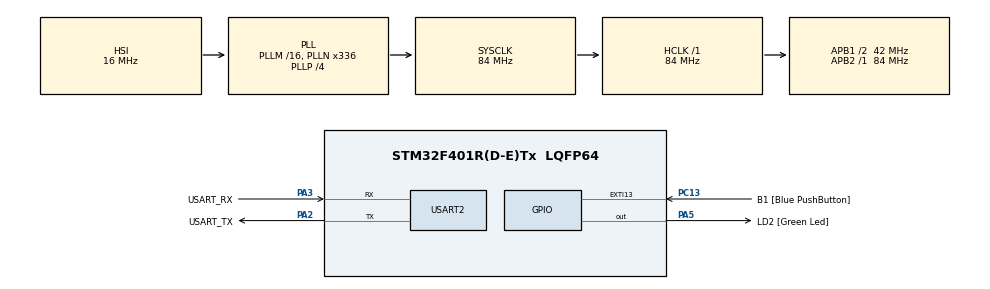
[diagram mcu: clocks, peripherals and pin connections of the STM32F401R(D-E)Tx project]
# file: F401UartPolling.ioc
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Mcu.Family=STM32F4
Mcu.Name=STM32F401R(D-E)Tx
Mcu.Package=LQFP64
NVIC.PriorityGroup=NVIC_PRIORITYGROUP_0
NVIC.RTC_WKUP_IRQn=true\:0\:0\:false\:false\:true\:true\:true\:true
NVIC.TIM1_UP_TIM10_IRQn=true\:0\:0\:false\:false\:true\:true\:true\:true
NVIC.USART2_IRQn=true\:0\:0\:false\:false\:true\:true\:true\:true
PA13.GPIO_Label=TMS
PA13.Mode=Serial_Wire
PA13.Signal=SYS_JTMS-SWDIO
PA14.GPIO_Label=TCK
PA14.Mode=Serial_Wire
PA14.Signal=SYS_JTCK-SWCLK
PA2.GPIO_Label=USART_TX
PA2.GPIO_Mode=GPIO_MODE_AF_PP
PA2.GPIO_PuPd=GPIO_NOPULL
PA2.GPIO_Speed=GPIO_SPEED_FREQ_LOW
PA2.Mode=Asynchronous
PA2.Signal=USART2_TX
PA3.GPIO_Label=USART_RX
PA3.GPIO_Mode=GPIO_MODE_AF_PP
PA3.GPIO_PuPd=GPIO_NOPULL
PA3.GPIO_Speed=GPIO_SPEED_FREQ_LOW
PA3.Mode=Asynchronous
PA3.Signal=USART2_RX
PA5.GPIO_Label=LD2 [Green Led]
PA5.GPIO_Mode=GPIO_MODE_OUTPUT_PP
PA5.GPIO_PuPd=GPIO_NOPULL
PA5.GPIO_Speed=GPIO_SPEED_FREQ_LOW
PA5.Signal=GPIO_Output
PB3.GPIO_Label=SWO
PB3.Signal=SYS_JTDO-SWO
PC13-ANTI_TAMP.GPIO_Label=B1 [Blue PushButton]
PC13-ANTI_TAMP.GPIO_ModeDefaultEXTI=GPIO_MODE_IT_FALLING
PC13-ANTI_TAMP.GPIO_PuPd=GPIO_NOPULL
PC13-ANTI_TAMP.Signal=GPXTI13
PC14-OSC32_IN.Mode=LSE-External-Oscillator
PC14-OSC32_IN.Signal=RCC_OSC32_IN
PC15-OSC32_OUT.Mode=LSE-External-Oscillator
PC15-OSC32_OUT.Signal=RCC_OSC32_OUT
PH0\ -\ OSC_IN.Mode=HSE-External-Clock-Source
PH0\ -\ OSC_IN.Signal=RCC_OSC_IN
PH1\ -\ OSC_OUT.Mode=HSE-External-Clock-Source
PH1\ -\ OSC_OUT.Signal=RCC_OSC_OUT
ProjectManager.HeapSize=0x200
ProjectManager.StackSize=0x400
ProjectManager.TargetToolchain=STM32CubeIDE
RCC.48MHZClocksFreq_Value=48000000
RCC.AHBFreq_Value=84000000
RCC.APB1CLKDivider=RCC_HCLK_DIV2
RCC.APB1Freq_Value=42000000
RCC.APB1TimFreq_Value=84000000
RCC.APB2Freq_Value=84000000
RCC.APB2TimFreq_Value=84000000
RCC.CortexFreq_Value=84000000
RCC.HCLKFreq_Value=84000000
RCC.HSE_VALUE=8000000
RCC.HSI_VALUE=16000000
RCC.PLLN=336
RCC.PLLP=RCC_PLLP_DIV4
RCC.PLLQ=7
RCC.RCC_RTC_Clock_Source=RCC_RTCCLKSOURCE_LSE
RCC.SYSCLKFreq_VALUE=84000000
RCC.SYSCLKSource=RCC_SYSCLKSOURCE_PLLCLK
RCC.VCOOutputFreq_Value=336000000
RTC.WakeUpClock=RTC_WAKEUPCLOCK_CK_SPRE_16BITS
TIM1.AutoReloadPreload=TIM_AUTORELOAD_PRELOAD_ENABLE
TIM1.Period=210
TIM1.Prescaler=4
USART2.VirtualMode=VM_ASYNC
VP_RTC_VS_RTC_Activate.Mode=RTC_Enabled
VP_RTC_VS_RTC_Calendar.Mode=RTC_Calendar
VP_RTC_VS_RTC_WakeUp_intern.Mode=WakeUp
VP_TIM1_VS_ClockSourceINT.Mode=Internal
board=NUCLEO-F401RE

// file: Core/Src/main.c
/* USER CODE BEGIN Header */
/**
  ******************************************************************************
  * @file           : main.c
  * @brief          : Main program body
  ******************************************************************************
  * @attention
  *
  * Copyright (c) 2023 STMicroelectronics.
  * All rights reserved.
  *
  * This software is licensed under terms that can be found in the LICENSE file
  * in the root directory of this software component.
  * If no LICENSE file comes with this software, it is provided AS-IS.
  *
  ******************************************************************************
  */
/* USER CODE END Header */
#include "main.h"

/* USER CODE BEGIN Includes */
#include <stdio.h>
/* USER CODE END Includes */

RTC_HandleTypeDef hrtc;

TIM_HandleTypeDef htim1;

UART_HandleTypeDef huart2;

void SystemClock_Config(void);
static void MX_GPIO_Init(void);
static void MX_USART2_UART_Init(void);
static void MX_TIM1_Init(void);
static void MX_RTC_Init(void);
/* USER CODE BEGIN PFP */
void user_init(void);
void user_main_loop(void);

/* USER CODE END PFP */

/* USER CODE BEGIN 0 */
//#include <stdio.h>
int __io_putchar(uint8_t ch)
{
  return ITM_SendChar(ch);
}
/* USER CODE END 0 */

int main(void)
{
  /* USER CODE BEGIN 1 */
	//setbuf(stdout, NULL);
  /* USER CODE END 1 */

  /* MCU Configuration--------------------------------------------------------*/

  /* Reset of all peripherals, Initializes the Flash interface and the Systick. */
  HAL_Init();

  /* Configure the system clock */
  SystemClock_Config();

  /* Initialize all configured peripherals */
  MX_GPIO_Init();
  MX_USART2_UART_Init();
  MX_TIM1_Init();
  MX_RTC_Init();
  /* USER CODE BEGIN 2 */
  user_init();

  /* USER CODE END 2 */

  /* Infinite loop */
  while (1)
  {

    /* USER CODE BEGIN 3 */
	  user_main_loop();

  }
  /* USER CODE END 3 */
}

void SystemClock_Config(void)
{
  RCC_OscInitTypeDef RCC_OscInitStruct = {0};
  RCC_ClkInitTypeDef RCC_ClkInitStruct = {0};

  /** Configure the main internal regulator output voltage
  */
  __HAL_RCC_PWR_CLK_ENABLE();
  __HAL_PWR_VOLTAGESCALING_CONFIG(PWR_REGULATOR_VOLTAGE_SCALE2);

  /** Initializes the RCC Oscillators according to the specified parameters
  * in the RCC_OscInitTypeDef structure.
  */
  RCC_OscInitStruct.OscillatorType = RCC_OSCILLATORTYPE_HSI|RCC_OSCILLATORTYPE_LSE;
  RCC_OscInitStruct.LSEState = RCC_LSE_ON;
  RCC_OscInitStruct.HSIState = RCC_HSI_ON;
  RCC_OscInitStruct.HSICalibrationValue = RCC_HSICALIBRATION_DEFAULT;
  RCC_OscInitStruct.PLL.PLLState = RCC_PLL_ON;
  RCC_OscInitStruct.PLL.PLLSource = RCC_PLLSOURCE_HSI;
  RCC_OscInitStruct.PLL.PLLM = 16;
  RCC_OscInitStruct.PLL.PLLN = 336;
  RCC_OscInitStruct.PLL.PLLP = RCC_PLLP_DIV4;
  RCC_OscInitStruct.PLL.PLLQ = 7;
  if (HAL_RCC_OscConfig(&RCC_OscInitStruct) != HAL_OK)
  {
    Error_Handler();
  }

  /** Initializes the CPU, AHB and APB buses clocks
  */
  RCC_ClkInitStruct.ClockType = RCC_CLOCKTYPE_HCLK|RCC_CLOCKTYPE_SYSCLK
                              |RCC_CLOCKTYPE_PCLK1|RCC_CLOCKTYPE_PCLK2;
  RCC_ClkInitStruct.SYSCLKSource = RCC_SYSCLKSOURCE_PLLCLK;
  RCC_ClkInitStruct.AHBCLKDivider = RCC_SYSCLK_DIV1;
  RCC_ClkInitStruct.APB1CLKDivider = RCC_HCLK_DIV2;
  RCC_ClkInitStruct.APB2CLKDivider = RCC_HCLK_DIV1;

  if (HAL_RCC_ClockConfig(&RCC_ClkInitStruct, FLASH_LATENCY_2) != HAL_OK)
  {
    Error_Handler();
  }
}

static void MX_RTC_Init(void)
{

  RTC_TimeTypeDef sTime = {0};
  RTC_DateTypeDef sDate = {0};

  /** Initialize RTC Only
  */
  hrtc.Instance = RTC;
  hrtc.Init.HourFormat = RTC_HOURFORMAT_24;
  hrtc.Init.AsynchPrediv = 127;
  hrtc.Init.SynchPrediv = 255;
  hrtc.Init.OutPut = RTC_OUTPUT_DISABLE;
  hrtc.Init.OutPutPolarity = RTC_OUTPUT_POLARITY_HIGH;
  hrtc.Init.OutPutType = RTC_OUTPUT_TYPE_OPENDRAIN;
  if (HAL_RTC_Init(&hrtc) != HAL_OK)
  {
    Error_Handler();
  }

  /** Initialize RTC and set the Time and Date
  */
  sTime.Hours = 0x0;
  sTime.Minutes = 0x0;
  sTime.Seconds = 0x0;
  sTime.DayLightSaving = RTC_DAYLIGHTSAVING_NONE;
  sTime.StoreOperation = RTC_STOREOPERATION_RESET;
  if (HAL_RTC_SetTime(&hrtc, &sTime, RTC_FORMAT_BCD) != HAL_OK)
  {
    Error_Handler();
  }
  sDate.WeekDay = RTC_WEEKDAY_MONDAY;
  sDate.Month = RTC_MONTH_JANUARY;
  sDate.Date = 0x1;
  sDate.Year = 0x0;

  if (HAL_RTC_SetDate(&hrtc, &sDate, RTC_FORMAT_BCD) != HAL_OK)
  {
    Error_Handler();
  }

  /** Enable the WakeUp
  */
  if (HAL_RTCEx_SetWakeUpTimer_IT(&hrtc, 0, RTC_WAKEUPCLOCK_CK_SPRE_16BITS) != HAL_OK)
  {
    Error_Handler();
  }
  /* USER CODE BEGIN RTC_Init 2 */
#define MAGIC_NO 0x12a5

  if(HAL_RTCEx_BKUPRead(&hrtc, RTC_BKP_DR0) != MAGIC_NO)
  {
    RTC_TimeTypeDef sTime = {0};
    RTC_DateTypeDef sDate = {0};

    sTime.Hours = 1;
    sTime.Minutes = 0;
    sTime.Seconds = 0;
    if (HAL_RTC_SetTime(&hrtc, &sTime, RTC_FORMAT_BIN) != HAL_OK)
    {
      Error_Handler();
    }
    sDate.WeekDay = RTC_WEEKDAY_WEDNESDAY;
    sDate.Month = RTC_MONTH_JANUARY;
    sDate.Date = 1;
    sDate.Year = 20;
    if (HAL_RTC_SetDate(&hrtc, &sDate, RTC_FORMAT_BIN) != HAL_OK)
    {
      Error_Handler();

    }
    HAL_RTCEx_BKUPWrite(&hrtc, RTC_BKP_DR0, MAGIC_NO);
  }
  /* USER CODE END RTC_Init 2 */

}

static void MX_TIM1_Init(void)
{

  TIM_ClockConfigTypeDef sClockSourceConfig = {0};
  TIM_MasterConfigTypeDef sMasterConfig = {0};

  htim1.Instance = TIM1;
  htim1.Init.Prescaler = 4;
  htim1.Init.CounterMode = TIM_COUNTERMODE_UP;
  htim1.Init.Period = 210;
  htim1.Init.ClockDivision = TIM_CLOCKDIVISION_DIV1;
  htim1.Init.RepetitionCounter = 0;
  htim1.Init.AutoReloadPreload = TIM_AUTORELOAD_PRELOAD_ENABLE;
  if (HAL_TIM_Base_Init(&htim1) != HAL_OK)
  {
    Error_Handler();
  }
  sClockSourceConfig.ClockSource = TIM_CLOCKSOURCE_INTERNAL;
  if (HAL_TIM_ConfigClockSource(&htim1, &sClockSourceConfig) != HAL_OK)
  {
    Error_Handler();
  }
  sMasterConfig.MasterOutputTrigger = TIM_TRGO_RESET;
  sMasterConfig.MasterSlaveMode = TIM_MASTERSLAVEMODE_DISABLE;
  if (HAL_TIMEx_MasterConfigSynchronization(&htim1, &sMasterConfig) != HAL_OK)
  {
    Error_Handler();
  }
  /* USER CODE BEGIN TIM1_Init 2 */
  HAL_TIM_Base_Start_IT(&htim1);
  /* USER CODE END TIM1_Init 2 */

}

static void MX_USART2_UART_Init(void)
{

  huart2.Instance = USART2;
  huart2.Init.BaudRate = 115200;
  huart2.Init.WordLength = UART_WORDLENGTH_8B;
  huart2.Init.StopBits = UART_STOPBITS_1;
  huart2.Init.Parity = UART_PARITY_NONE;
  huart2.Init.Mode = UART_MODE_TX_RX;
  huart2.Init.HwFlowCtl = UART_HWCONTROL_NONE;
  huart2.Init.OverSampling = UART_OVERSAMPLING_16;
  if (HAL_UART_Init(&huart2) != HAL_OK)
  {
    Error_Handler();
  }

}

static void MX_GPIO_Init(void)
{
  GPIO_InitTypeDef GPIO_InitStruct = {0};

  /* GPIO Ports Clock Enable */
  __HAL_RCC_GPIOC_CLK_ENABLE();
  __HAL_RCC_GPIOH_CLK_ENABLE();
  __HAL_RCC_GPIOA_CLK_ENABLE();
  __HAL_RCC_GPIOB_CLK_ENABLE();

  /*Configure GPIO pin Output Level */
  HAL_GPIO_WritePin(LD2_GPIO_Port, LD2_Pin, GPIO_PIN_RESET);

  /*Configure GPIO pin : B1_Pin */
  GPIO_InitStruct.Pin = B1_Pin;
  GPIO_InitStruct.Mode = GPIO_MODE_IT_FALLING;
  GPIO_InitStruct.Pull = GPIO_NOPULL;
  HAL_GPIO_Init(B1_GPIO_Port, &GPIO_InitStruct);

  /*Configure GPIO pin : LD2_Pin */
  GPIO_InitStruct.Pin = LD2_Pin;
  GPIO_InitStruct.Mode = GPIO_MODE_OUTPUT_PP;
  GPIO_InitStruct.Pull = GPIO_NOPULL;
  GPIO_InitStruct.Speed = GPIO_SPEED_FREQ_LOW;
  HAL_GPIO_Init(LD2_GPIO_Port, &GPIO_InitStruct);

}

void Error_Handler(void)
{
  __disable_irq();
  while (1)
  {
  }
}
